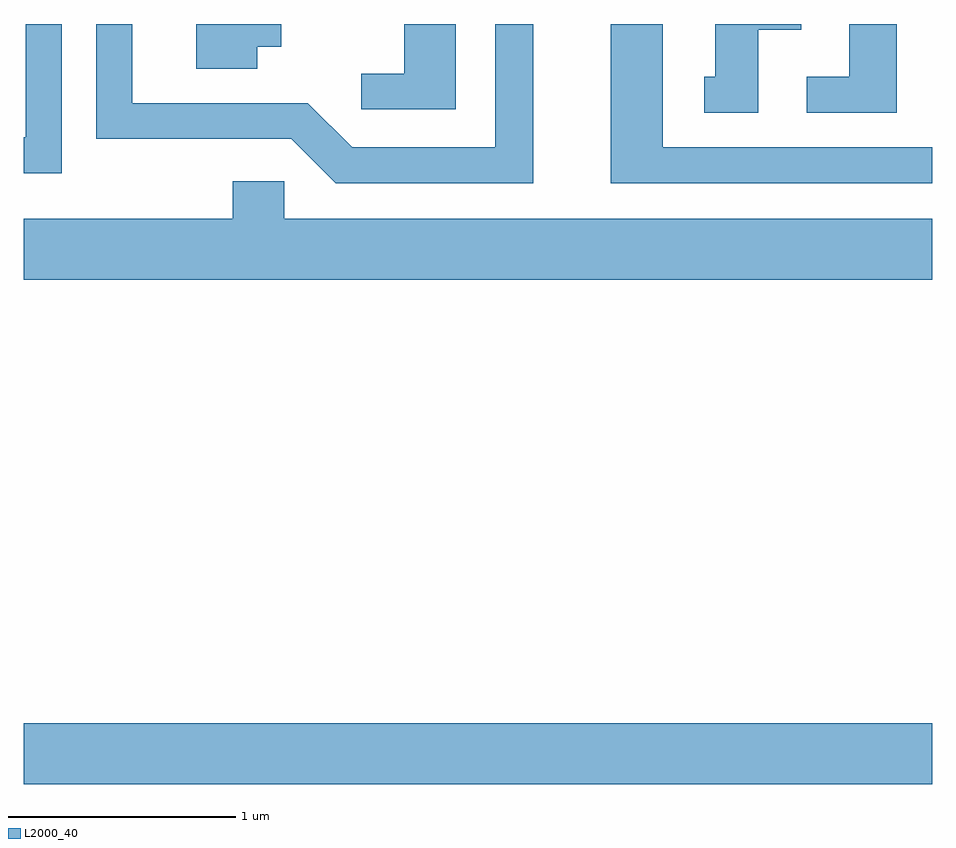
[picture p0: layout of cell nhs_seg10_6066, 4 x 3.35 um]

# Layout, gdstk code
import gdstk
lib = gdstk.Library(unit=1e-6, precision=1e-09)
def R(c, l, rs):  # rectangles x0, y0, x1, y1
    for r in rs: c.add(gdstk.rectangle(r[:2], r[2:], *l))
def P(c, l, *ps):  # polygons
    for p in ps: c.add(gdstk.Polygon(p, *l))
L2000_40 = (2000, 40)

nhs_seg10_6066 = lib.new_cell('nhs_seg10_6066')
R(nhs_seg10_6066, L2000_40, [(363.611,2187.176,367.611,2187.444)])
P(nhs_seg10_6066, L2000_40, [(364.639,2190.421),(364.744,2190.421),(364.744,2190.522),(364.371,2190.522),(364.371,2190.326),(364.639,2190.326)],
  [(367.611,2189.979),(366.424,2189.979),(366.424,2190.522),(366.196,2190.522),(366.196,2189.821),(367.611,2189.821)],
  [(366.844,2190.496),(367.034,2190.496),(367.034,2190.522),(366.656,2190.522),(366.656,2190.289),(366.608,2190.289),(366.608,2190.131),(366.844,2190.131)],
  [(365.514,2190.522),(365.286,2190.522),(365.286,2190.304),(365.098,2190.304),(365.098,2190.146),(365.514,2190.146)],
  [(365.854,2190.522),(365.686,2190.522),(365.686,2189.979),(365.057,2189.979),(364.862,2190.174),(364.089,2190.174),(364.089,2190.522),(363.931,2190.522),(363.931,2190.016),(364.789,2190.016),(364.984,2189.821),(365.854,2189.821)],
  [(363.779,2190.522),(363.621,2190.522),(363.621,2190.024),(363.611,2190.024),(363.611,2189.866),(363.779,2189.866)],
  [(367.454,2190.522),(367.246,2190.522),(367.246,2190.289),(367.058,2190.289),(367.058,2190.131),(367.454,2190.131)],
  [(367.611,2189.664),(364.759,2189.664),(364.759,2189.829),(364.531,2189.829),(364.531,2189.664),(363.611,2189.664),(363.611,2189.396),(367.611,2189.396)])

lib.write_gds('nhs_seg10_6066.gds')
